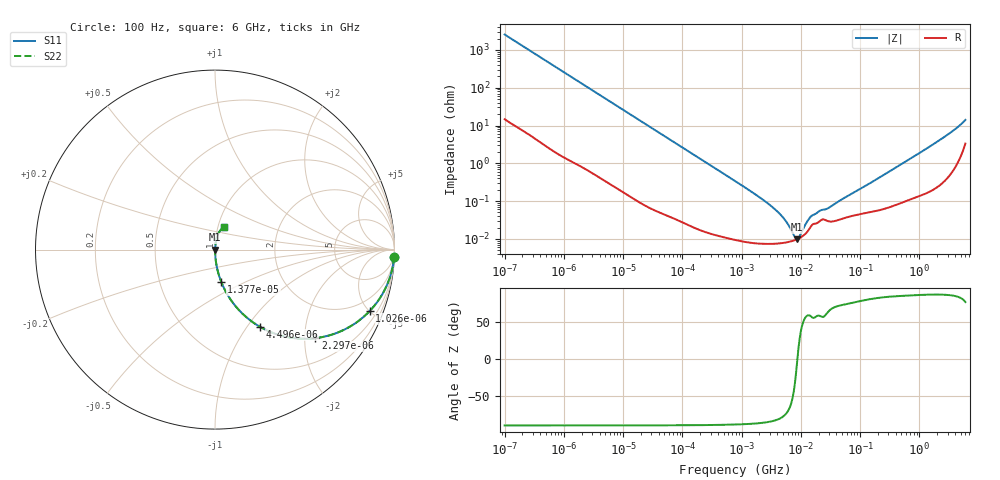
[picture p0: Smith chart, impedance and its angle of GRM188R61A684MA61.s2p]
!Murata Part Number: GRM188R61A684MA61
!These Parameters are Measured in Series Mode Connection
!Data Generated on Mar 30, 2021
!  o--ll--o
!Port1  Port2
!  o------o
!Operation Temp=25[degC], DC Bias Voltage=0[V]
!Freq. Start=100[Hz] Stop=6[GHz] 401[Steps]
# Hz S RI R 50
!Freq.(Hz) S11(Real) S11(Imag) S21(Real) S21(Imag) S12(Real) S12(Imag) S22(Real) S22(Imag)
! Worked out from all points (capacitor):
!   401 points, 100 Hz to 6 GHz, reference 50 ohm
!   read as one part in series: C = 621 nF near 109 Hz
!   lowest |Z| = 9.84 mohm at 8.692 MHz (marker M1)
!   series resonance near 8.763 MHz, so ESL is about 530 pH
!   S11 on the Smith chart (normalised r, x): 100 Hz: 1, -51; 1.026 kHz: 1.03, -5.03; 2.297 kHz: 1.01, -2.25; 4.496 kHz: 1.01, -1.15; 13.77 kHz: 1.00, -0.38; 6 GHz: 1.07, +0.27
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100  0.9983 -0.039  0.00175 0.039  0.00175 0.039  0.9983 -0.039
350  0.981 -0.1335  0.019 0.1335  0.019 0.1335  0.981 -0.1335
1026  0.8621 -0.3421  0.1379 0.3421  0.1379 0.3421  0.8621 -0.3421
2008  0.6231 -0.4815  0.3769 0.4815  0.3769 0.4815  0.6231 -0.4815
2297  0.559 -0.4934  0.441 0.4934  0.441 0.4934  0.559 -0.4934
4496  0.2513 -0.4306  0.7487 0.4306  0.7487 0.4306  0.2513 -0.4306
7358  0.1126 -0.3129  0.8874 0.3129  0.8874 0.3129  0.1126 -0.3129
13772  0.0357 -0.1823  0.9643 0.1823  0.9643 0.1823  0.0357 -0.1823
40335  0.00469 -0.0645  0.9953 0.0645  0.9953 0.0645  0.00469 -0.0645
774597  0.000106 -0.00341  0.9999 0.00341  0.9999 0.00341  0.000106 -0.00341
2074311  7.62e-05 -0.00122  0.9999 0.00122  0.9999 0.00122  7.62e-05 -0.00122
3712478  7.5e-05 -0.000592  0.9999 0.000592  0.9999 0.000592  7.5e-05 -0.000592
5311619  7.93e-05 -0.00032  0.9999 0.00032  0.9999 0.00032  7.93e-05 -0.00032
7947587  9.29e-05 -6.03e-05  0.9999 6.03e-05  0.9999 6.03e-05  9.29e-05 -6.03e-05
8692127  9.83e-05 -4.9e-06  0.9999 4.9e-06  0.9999 4.9e-06  9.83e-05 -4.9e-06
9506416  0.000105 5.08e-05  0.9999 -5.08e-05  0.9999 -5.08e-05  0.000105 5.08e-05
1.300572e7  0.000158 0.000255  0.9998 -0.000255  0.9998 -0.000255  0.000158 0.000255
1.555665e7  0.000236 0.000345  0.9998 -0.000345  0.9998 -0.000345  0.000236 0.000345
2.911731e7  0.000293 0.000585  0.9997 -0.000585  0.9997 -0.000585  0.000293 0.000585
3.124326e8  0.000723 0.00603  0.9993 -0.00603  0.9993 -0.00603  0.000723 0.00603
2.142435e9  0.00408 0.0396  0.9959 -0.0396  0.9959 -0.0396  0.00408 0.0396
6e9  0.0489 0.1261  0.9511 -0.1261  0.9511 -0.1261  0.0489 0.1261
